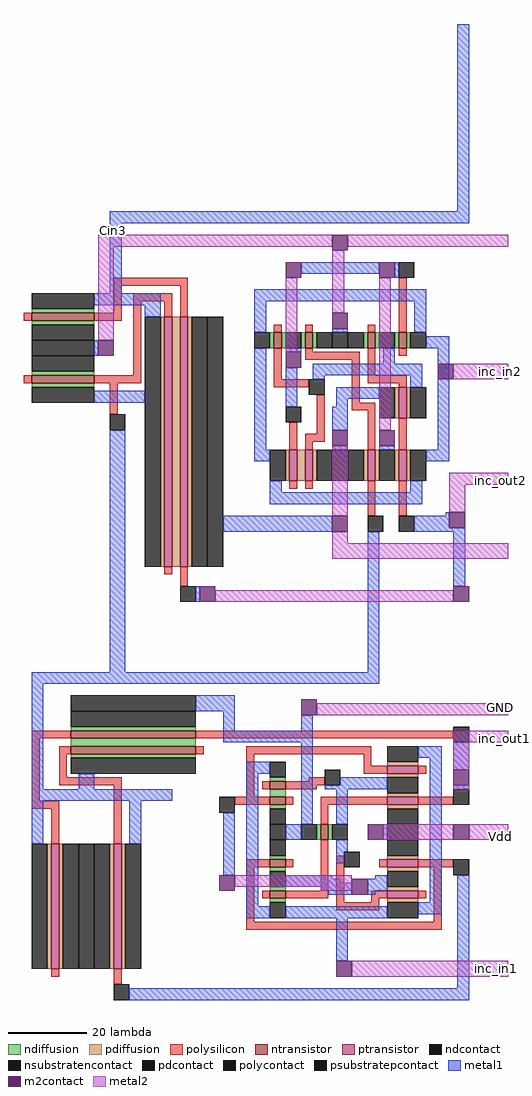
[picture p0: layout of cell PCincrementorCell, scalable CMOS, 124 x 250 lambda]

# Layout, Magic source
magic
tech scmos
<< polysilicon >>
rect 338 254 340 257
<< metal1 >>
rect 409 350 412 398
rect 320 347 412 350
rect 320 340 323 347
rect 316 313 317 317
rect 406 272 407 273
rect 349 268 377 272
rect 398 269 407 272
rect 398 268 411 269
rect 342 250 343 254
rect 386 232 389 268
rect 408 254 411 268
rect 364 229 389 232
rect 369 214 372 221
rect 408 202 412 203
rect 378 158 381 163
rect 409 148 412 180
<< metal2 >>
rect 317 341 377 344
rect 381 341 422 344
rect 317 317 321 341
rect 408 307 422 311
rect 407 280 422 283
rect 407 273 411 280
rect 377 265 381 268
rect 377 261 422 265
rect 347 250 408 253
rect 373 221 422 224
rect 408 214 422 217
rect 408 207 412 214
rect 408 202 412 203
rect 412 189 422 193
rect 382 154 422 158
<< polycontact >>
rect 338 250 342 254
<< m2contact >>
rect 317 313 321 317
rect 404 307 408 311
rect 407 269 411 273
rect 343 250 347 254
rect 408 250 412 254
rect 369 221 373 225
rect 408 203 412 207
rect 378 154 382 158
use trickyxnor2  trickyxnor2_0
transform 0 1 353 1 0 268
box 0 4 76 54
use nor_p64n16  nor_p64n16_0
transform 0 1 315 1 0 305
box -76 -17 35 34
use trickyxor2  trickyxor2_0
transform -1 0 392 0 -1 206
box -20 -11 44 43
use nand_p32n32  nand_p32n32_0
transform 1 0 315 0 1 185
box -15 -37 97 47
<< labels >>
rlabel metal2 421 215 421 215 1 inc_out1
rlabel metal2 420 223 420 223 1 GND
rlabel metal2 419 156 419 156 1 inc_in1
rlabel metal2 420 190 420 190 1 Vdd
rlabel metal2 420 309 420 309 5 inc_in2
rlabel metal2 420 281 420 281 1 inc_out2
rlabel metal1 321 345 321 345 1 Cin3
<< end >>

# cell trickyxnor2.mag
magic
tech scmos
<< polysilicon >>
rect 4 41 13 43
rect 21 41 29 43
rect 37 41 40 43
rect 45 41 47 43
rect 51 41 65 43
rect 38 35 40 41
rect 4 33 13 35
rect 21 33 33 35
rect 38 33 47 35
rect 51 33 53 35
rect 31 31 33 33
rect 31 29 46 31
rect 23 20 35 22
rect 23 19 25 20
rect 11 17 13 19
rect 21 17 25 19
rect 11 13 13 15
rect 21 13 28 15
rect 37 11 39 18
rect 44 19 46 29
rect 44 17 47 19
rect 51 17 53 19
rect 37 9 47 11
rect 51 9 53 11
<< ndiffusion >>
rect 47 43 51 44
rect 47 40 51 41
rect 47 35 51 36
rect 47 32 51 33
rect 47 19 51 20
rect 47 16 51 17
rect 47 11 51 12
rect 47 8 51 9
<< pdiffusion >>
rect 13 43 21 44
rect 29 43 37 44
rect 13 40 21 41
rect 29 40 37 41
rect 13 35 21 36
rect 13 32 21 33
rect 13 19 21 20
rect 13 15 21 17
rect 13 12 21 13
<< metal1 >>
rect 18 51 50 54
rect 18 48 21 51
rect 47 48 50 51
rect 7 44 13 47
rect 37 44 43 47
rect 51 45 62 48
rect 7 11 10 44
rect 40 40 43 44
rect 21 36 22 40
rect 34 28 37 36
rect 21 24 22 28
rect 26 25 37 28
rect 40 37 47 40
rect 26 24 32 25
rect 40 22 43 37
rect 39 19 43 22
rect 51 24 52 28
rect 32 12 42 15
rect 46 12 47 16
rect 7 8 13 11
rect 18 7 21 8
rect 18 4 47 7
rect 59 7 62 45
rect 65 40 69 41
rect 66 16 69 36
rect 51 4 62 7
<< metal2 >>
rect 26 36 65 39
rect 4 24 22 28
rect 56 24 72 27
rect 46 12 65 15
<< ntransistor >>
rect 47 41 51 43
rect 47 33 51 35
rect 47 17 51 19
rect 47 9 51 11
<< ptransistor >>
rect 13 41 21 43
rect 29 41 37 43
rect 13 33 21 35
rect 13 17 21 19
rect 13 13 21 15
<< polycontact >>
rect 0 41 4 45
rect 65 41 69 45
rect 0 33 4 37
rect 35 18 39 22
rect 28 12 32 16
<< ndcontact >>
rect 47 44 51 48
rect 47 36 51 40
rect 47 28 51 32
rect 47 20 51 24
rect 47 12 51 16
rect 47 4 51 8
<< pdcontact >>
rect 13 44 21 48
rect 29 44 37 48
rect 13 36 21 40
rect 29 36 37 40
rect 13 28 21 32
rect 13 20 21 24
rect 13 8 21 12
<< m2contact >>
rect 0 24 4 28
rect 22 36 26 40
rect 22 24 26 28
rect 52 24 56 28
rect 42 12 46 16
rect 65 36 69 40
rect 72 24 76 28
rect 65 12 69 16
<< psubstratepcontact >>
rect 47 24 51 28
<< nsubstratencontact >>
rect 13 24 21 28
<< labels >>
rlabel polysilicon 12 34 12 34 3 b
rlabel polysilicon 12 42 12 42 3 a
rlabel metal1 41 40 41 40 1 a_
rlabel metal1 68 25 68 25 7 b_
rlabel m2contact 74 26 74 26 7 GND
rlabel m2contact 2 26 2 26 3 Vdd
rlabel polycontact 2 43 2 43 4 a
rlabel polycontact 2 35 2 35 3 b
rlabel metal1 37 53 37 53 5 xnor
<< end >>

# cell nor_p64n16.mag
magic
tech scmos
<< polysilicon >>
rect -48 23 -46 25
rect 18 23 28 25
rect -48 19 -46 21
rect 18 19 24 21
rect 22 13 24 19
rect 1 11 24 13
rect 1 7 3 11
rect 26 8 28 23
rect -7 5 3 7
rect 1 1 3 5
rect 17 6 28 8
rect 17 1 19 6
rect 1 -17 3 -15
rect 17 -17 19 -15
<< ndiffusion >>
rect 0 -15 1 1
rect 3 -15 4 1
rect 16 -15 17 1
rect 19 -15 20 1
<< pdiffusion >>
rect -46 25 18 26
rect -46 21 18 23
rect -46 18 18 19
<< metal1 >>
rect 18 14 24 18
rect -76 5 -11 9
rect -4 1 -1 14
rect 21 8 24 14
rect 21 5 35 8
rect 21 1 24 5
<< ntransistor >>
rect 1 -15 3 1
rect 17 -15 19 1
<< ptransistor >>
rect -46 23 18 25
rect -46 19 18 21
<< polycontact >>
rect -11 5 -7 9
<< ndcontact >>
rect -4 -15 0 1
rect 4 -15 8 1
rect 12 -15 16 1
rect 20 -15 24 1
<< pdcontact >>
rect -46 26 18 30
rect -46 14 18 18
<< psubstratepcontact >>
rect 8 -15 12 1
<< nsubstratencontact >>
rect -46 30 18 34
<< labels >>
rlabel polycontact -9 7 -9 7 3 cin
<< end >>

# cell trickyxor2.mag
magic
tech scmos
<< polysilicon >>
rect -13 38 37 40
rect -13 24 -11 38
rect 3 33 14 35
rect 3 32 5 33
rect -9 30 -7 32
rect 1 30 5 32
rect -16 22 -7 24
rect 1 22 3 24
rect 12 21 14 33
rect 16 30 27 32
rect 31 30 33 32
rect 16 17 18 30
rect 35 24 37 38
rect 25 22 27 24
rect 31 22 37 24
rect 16 8 18 13
rect -16 6 -7 8
rect 1 6 18 8
rect 25 6 27 8
rect 31 6 40 8
rect 19 3 27 4
rect -9 -2 -7 0
rect 1 -2 7 0
rect 17 2 27 3
rect 31 2 33 4
rect 17 1 21 2
rect 5 -5 7 -2
rect 35 -5 37 6
rect 5 -7 37 -5
<< ndiffusion >>
rect 27 32 31 33
rect 27 29 31 30
rect 27 24 31 25
rect 27 21 31 22
rect 15 13 16 17
rect 18 13 19 17
rect 27 8 31 9
rect 27 4 31 6
rect 27 1 31 2
<< pdiffusion >>
rect -7 32 1 33
rect -7 29 1 30
rect -7 24 1 25
rect -7 21 1 22
rect -7 8 1 9
rect -7 5 1 6
rect -7 0 1 1
rect -7 -3 1 -2
<< metal1 >>
rect 11 37 14 43
rect -13 33 -7 36
rect 1 34 27 37
rect 31 34 37 37
rect -13 -4 -10 33
rect 4 30 6 31
rect 1 27 6 30
rect 10 30 16 31
rect 10 29 18 30
rect 10 28 27 29
rect 13 27 27 28
rect 1 26 4 27
rect 15 26 27 27
rect 12 20 14 23
rect 11 17 14 20
rect 1 13 2 17
rect 23 13 27 17
rect 11 4 14 13
rect 1 3 17 4
rect 1 1 13 3
rect -13 -7 -7 -4
rect 20 -8 23 13
rect 34 0 37 34
rect 40 10 43 26
rect 31 -3 37 0
rect 20 -11 43 -8
<< metal2 >>
rect 10 29 18 30
rect 10 26 40 29
rect -16 13 2 17
<< ntransistor >>
rect 27 30 31 32
rect 27 22 31 24
rect 16 13 18 17
rect 27 6 31 8
rect 27 2 31 4
<< ptransistor >>
rect -7 30 1 32
rect -7 22 1 24
rect -7 6 1 8
rect -7 -2 1 0
<< polycontact >>
rect -20 22 -16 26
rect 8 20 12 24
rect -20 4 -16 8
rect 40 6 44 10
rect 13 -1 17 3
<< ndcontact >>
rect 27 33 31 37
rect 27 25 31 29
rect 27 17 31 21
rect 11 13 15 17
rect 19 13 23 17
rect 27 9 31 13
rect 27 -3 31 1
<< pdcontact >>
rect -7 33 1 37
rect -7 25 1 29
rect -7 17 1 21
rect -7 9 1 13
rect -7 1 1 5
rect -7 -7 1 -3
<< m2contact >>
rect -20 13 -16 17
rect 6 27 10 31
rect 2 13 6 17
rect 40 26 44 30
<< psubstratepcontact >>
rect 27 13 31 17
<< nsubstratencontact >>
rect -7 13 1 17
<< labels >>
rlabel polysilicon -8 23 -8 23 3 b
rlabel polysilicon -8 31 -8 31 3 a_
rlabel polysilicon -8 7 -8 7 3 a
rlabel polysilicon -8 -1 -8 -1 3 b_
rlabel polysilicon 26 3 26 3 1 a_
rlabel metal1 12 42 12 42 5 xor
rlabel metal1 41 -10 41 -10 8 GND
rlabel m2contact -18 15 -18 15 3 Vdd
rlabel polycontact -18 6 -18 6 3 a
rlabel polycontact -18 24 -18 24 3 b
<< end >>

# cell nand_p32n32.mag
magic
tech scmos
<< polysilicon >>
rect -15 30 -5 32
rect 27 30 93 32
rect -15 14 -13 30
rect -8 26 -5 28
rect 27 26 29 28
rect -8 20 -6 26
rect -8 18 8 20
rect -15 12 -8 14
rect -10 3 -8 12
rect 6 3 8 18
rect -10 -31 -8 -29
rect 6 -33 8 -29
<< ndiffusion >>
rect -5 32 27 33
rect -5 28 27 30
rect -5 25 27 26
<< pdiffusion >>
rect -11 -29 -10 3
rect -8 -29 -7 3
rect 5 -29 6 3
rect 8 -29 9 3
<< metal1 >>
rect -15 44 49 47
rect -15 17 -12 44
rect 27 37 37 41
rect 34 31 37 37
rect 93 22 97 29
rect -3 17 1 21
rect -15 14 21 17
rect -15 3 -12 14
rect 10 3 13 14
rect 10 -37 95 -34
<< ntransistor >>
rect -5 30 27 32
rect -5 26 27 28
<< ptransistor >>
rect -10 -29 -8 3
rect 6 -29 8 3
<< polycontact >>
rect 93 29 97 33
rect 6 -37 10 -33
<< ndcontact >>
rect -5 33 27 37
rect -5 21 27 25
<< pdcontact >>
rect -15 -29 -11 3
rect -7 -29 -3 3
rect 1 -29 5 3
rect 9 -29 13 3
<< psubstratepcontact >>
rect -5 37 27 41
<< nsubstratencontact >>
rect -3 -29 1 3
<< labels >>
rlabel metal1 20 16 20 16 7 cout
rlabel metal1 47 46 47 46 5 Cin2
<< end >>
